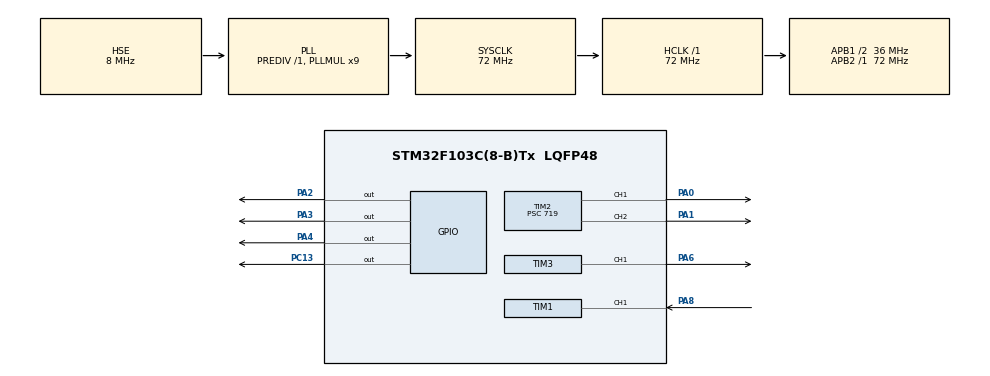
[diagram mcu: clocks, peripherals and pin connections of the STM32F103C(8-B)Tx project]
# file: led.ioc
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Mcu.Family=STM32F1
Mcu.Name=STM32F103C(8-B)Tx
Mcu.Package=LQFP48
NVIC.PriorityGroup=NVIC_PRIORITYGROUP_4
NVIC.TIM1_CC_IRQn=true\:1\:0\:true\:false\:true\:true\:true\:true
PA0-WKUP.Signal=S_TIM2_CH1_ETR
PA1.Signal=S_TIM2_CH2
PA13.Mode=Serial_Wire
PA13.Signal=SYS_JTMS-SWDIO
PA14.Mode=Serial_Wire
PA14.Signal=SYS_JTCK-SWCLK
PA2.GPIO_ModeDefaultOutputPP=GPIO_MODE_OUTPUT_PP
PA2.GPIO_PuPd=GPIO_PULLUP
PA2.Signal=GPIO_Output
PA3.GPIO_PuPd=GPIO_PULLUP
PA3.Signal=GPIO_Output
PA4.GPIO_PuPd=GPIO_PULLDOWN
PA4.Signal=GPIO_Output
PA6.Signal=S_TIM3_CH1
PA8.Signal=S_TIM1_CH1
PC13-TAMPER-RTC.Signal=GPIO_Output
PC14-OSC32_IN.Mode=LSE-External-Oscillator
PC14-OSC32_IN.Signal=RCC_OSC32_IN
PC15-OSC32_OUT.Mode=LSE-External-Oscillator
PC15-OSC32_OUT.Signal=RCC_OSC32_OUT
PD0-OSC_IN.Mode=HSE-External-Oscillator
PD0-OSC_IN.Signal=RCC_OSC_IN
PD1-OSC_OUT.Mode=HSE-External-Oscillator
PD1-OSC_OUT.Signal=RCC_OSC_OUT
ProjectManager.HeapSize=0x200
ProjectManager.StackSize=0x400
ProjectManager.TargetToolchain=MDK-ARM V5
RCC.AHBFreq_Value=72000000
RCC.APB1CLKDivider=RCC_HCLK_DIV2
RCC.APB1Freq_Value=36000000
RCC.APB1TimFreq_Value=72000000
RCC.APB2Freq_Value=72000000
RCC.APB2TimFreq_Value=72000000
RCC.HCLKFreq_Value=72000000
RCC.PLLMUL=RCC_PLL_MUL9
RCC.PLLSourceVirtual=RCC_PLLSOURCE_HSE
RCC.SYSCLKFreq_VALUE=72000000
RCC.SYSCLKSource=RCC_SYSCLKSOURCE_PLLCLK
RCC.USBFreq_Value=72000000
SH.S_TIM1_CH1.0=TIM1_CH1,Input_Capture1_from_TI1
SH.S_TIM2_CH1_ETR.0=TIM2_CH1,PWM Generation1 CH1
SH.S_TIM2_CH2.0=TIM2_CH2,PWM Generation2 CH2
SH.S_TIM3_CH1.0=TIM3_CH1,PWM Generation1 CH1
TIM1.Channel-Input_Capture1_from_TI1=TIM_CHANNEL_1
TIM1.Period=65535
TIM1.Prescaler=71
TIM2.Channel-PWM\ Generation1\ CH1=TIM_CHANNEL_1
TIM2.Channel-PWM\ Generation2\ CH2=TIM_CHANNEL_2
TIM2.Period=999
TIM2.Prescaler=719
TIM2.Pulse-PWM\ Generation1\ CH1=499
TIM2.Pulse-PWM\ Generation2\ CH2=499
TIM3.Channel-PWM\ Generation1\ CH1=TIM_CHANNEL_1
TIM3.Period=199
TIM3.Prescaler=719
VP_TIM1_VS_ClockSourceINT.Mode=Internal
board=custom

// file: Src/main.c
/* USER CODE BEGIN Header */
/**
  ******************************************************************************
  * @file           : main.c
  * @brief          : Main program body
  ******************************************************************************
  * @attention
  *
  * <h2><center>&copy; Copyright (c) 2021 STMicroelectronics.
  * All rights reserved.</center></h2>
  *
  * This software component is licensed by ST under BSD 3-Clause license,
  * the "License"; You may not use this file except in compliance with the
  * License. You may obtain a copy of the License at:
  *                        opensource.org/licenses/BSD-3-Clause
  *
  ******************************************************************************
  */
/* USER CODE END Header */

#include "main.h"
#include "tim.h"
#include "gpio.h"

/* USER CODE BEGIN PV */
uint32_t Diff = 0 ; // 存放捕获插差值
uint8_t MeasureFlag = 0 ; // 测量完成标志位，0未完成，1完成
uint8_t CapIndex = 0 ; // 捕获指示，0未开始，1完成第一次捕获
uint32_t CapVal1 = 0 ; //存放第一次捕获值
uint32_t CapVal2 = 0 ; //存放第二次捕获值
uint32_t Distance=0;//距离值
/* USER CODE END PV */

void SystemClock_Config(void);
/* USER CODE BEGIN PFP */
void  TRIG_Ultrasonic(void);//函数声明
/* USER CODE END PFP */

int main(void)
{

  /* MCU Configuration--------------------------------------------------------*/

  /* Reset of all peripherals, Initializes the Flash interface and the Systick. */
  HAL_Init();

  /* Configure the system clock */
  SystemClock_Config();

  /* Initialize all configured peripherals */
  MX_GPIO_Init();
  MX_TIM2_Init();
  MX_TIM3_Init();
  MX_TIM1_Init();
  /* USER CODE BEGIN 2 */
	HAL_TIM_PWM_Start(&htim3,TIM_CHANNEL_1);//启动定时器3通道1的PWM输出，舵机角度控制
	HAL_TIM_PWM_Start(&htim2,TIM_CHANNEL_1);//启动定时器2通道1的PWM输出，小车转速PWM控制
	HAL_TIM_PWM_Start(&htim2,TIM_CHANNEL_2);//启动定时器2通道2的PWM输出，小车转速PWM控制
	HAL_TIM_IC_Start_IT(&htim1, TIM_CHANNEL_1); // 启动定时器1通道1的输入捕获功能

  /* USER CODE END 2 */

  /* Infinite loop */
  while (1)
  {

    /* USER CODE BEGIN 3 */
		HAL_GPIO_TogglePin(GPIOC,GPIO_PIN_13);
		TRIG_Ultrasonic();
		while(1)
		{
			if( MeasureFlag == 1) // 测量完成
			{
				if(CapVal2 >= CapVal1) //两次捕获再一个周期内
				{
					Diff = CapVal2 - CapVal1;
				}
				else
				{
					Diff = ((65536 - CapVal1) + CapVal2) ;
				}
				Distance=Diff*34000/1000000/2;
				MeasureFlag = 0; // 清除标志位
				HAL_Delay(1000);
				HAL_TIM_IC_Start_IT(&htim1, TIM_CHANNEL_1); //开启捕获

				break;
			}
		}
	}
  /* USER CODE END 3 */
}

void SystemClock_Config(void)
{
  RCC_OscInitTypeDef RCC_OscInitStruct = {0};
  RCC_ClkInitTypeDef RCC_ClkInitStruct = {0};

  /** Initializes the CPU, AHB and APB busses clocks
  */
  RCC_OscInitStruct.OscillatorType = RCC_OSCILLATORTYPE_HSE;
  RCC_OscInitStruct.HSEState = RCC_HSE_ON;
  RCC_OscInitStruct.HSEPredivValue = RCC_HSE_PREDIV_DIV1;
  RCC_OscInitStruct.HSIState = RCC_HSI_ON;
  RCC_OscInitStruct.PLL.PLLState = RCC_PLL_ON;
  RCC_OscInitStruct.PLL.PLLSource = RCC_PLLSOURCE_HSE;
  RCC_OscInitStruct.PLL.PLLMUL = RCC_PLL_MUL9;
  if (HAL_RCC_OscConfig(&RCC_OscInitStruct) != HAL_OK)
  {
    Error_Handler();
  }
  /** Initializes the CPU, AHB and APB busses clocks
  */
  RCC_ClkInitStruct.ClockType = RCC_CLOCKTYPE_HCLK|RCC_CLOCKTYPE_SYSCLK
                              |RCC_CLOCKTYPE_PCLK1|RCC_CLOCKTYPE_PCLK2;
  RCC_ClkInitStruct.SYSCLKSource = RCC_SYSCLKSOURCE_PLLCLK;
  RCC_ClkInitStruct.AHBCLKDivider = RCC_SYSCLK_DIV1;
  RCC_ClkInitStruct.APB1CLKDivider = RCC_HCLK_DIV2;
  RCC_ClkInitStruct.APB2CLKDivider = RCC_HCLK_DIV1;

  if (HAL_RCC_ClockConfig(&RCC_ClkInitStruct, FLASH_LATENCY_2) != HAL_OK)
  {
    Error_Handler();
  }
}

/* USER CODE BEGIN 4 */
void  TRIG_Ultrasonic(void)//发射一个20us的高电平，用于触发超声波模块发出测距信号
{
		HAL_GPIO_WritePin(GPIOA, GPIO_PIN_4, GPIO_PIN_SET);
    HAL_Delay(200);
	  HAL_GPIO_WritePin(GPIOA, GPIO_PIN_4, GPIO_PIN_RESET);
}
void HAL_TIM_IC_CaptureCallback(TIM_HandleTypeDef *htim)
{
	if(htim->Instance==TIM1)
	{
		if(htim->Channel==HAL_TIM_ACTIVE_CHANNEL_1)
		{
			if(CapIndex==0)
			{
				CapVal1=HAL_TIM_ReadCapturedValue(htim,TIM_CHANNEL_1);
				CapIndex=1;
				__HAL_TIM_SET_CAPTUREPOLARITY(htim,TIM_CHANNEL_1,TIM_ICPOLARITY_FALLING);
				//设定捕获通道的捕获边沿为下降沿触发
			}
			else if(CapIndex==1)
			{
				CapVal2=HAL_TIM_ReadCapturedValue(htim,TIM_CHANNEL_1);
				HAL_TIM_IC_Stop_IT(htim,TIM_CHANNEL_1);//关闭定时器捕恢
				CapIndex=0;
				__HAL_TIM_SET_CAPTUREPOLARITY(htim,TIM_CHANNEL_1,TIM_ICPOLARITY_RISING);
				//设定捕获通道的捕获边沿为上升沿触发
				MeasureFlag=1;
			}
			else
			{
				Error_Handler();
			}
		}
	}
}
/* USER CODE END 4 */

void Error_Handler(void)
{
}

/************************ (C) COPYRIGHT STMicroelectronics *****END OF FILE****/
